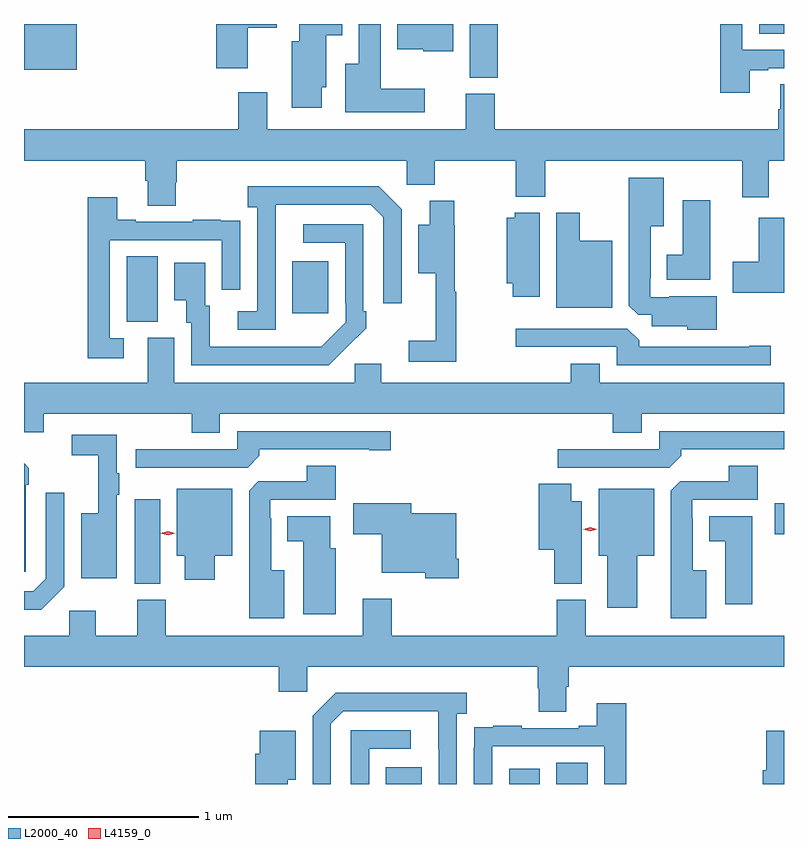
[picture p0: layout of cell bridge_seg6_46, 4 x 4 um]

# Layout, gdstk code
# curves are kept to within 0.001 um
import gdstk
lib = gdstk.Library(unit=1e-6, precision=1e-09)
def R(c, l, rs):  # rectangles x0, y0, x1, y1
    for r in rs: c.add(gdstk.rectangle(r[:2], r[2:], *l))
def P(c, l, *ps):  # polygons
    for p in ps: c.add(gdstk.Polygon(p, *l))
L2000_40 = (2000, 40)
L4159_0 = (4159, 0)

bridge_seg6_46 = lib.new_cell('bridge_seg6_46')
R(bridge_seg6_46, L2000_40, [(1092.203,980.019,1092.391,980.107), (1092.851,980.019,1093.012,980.098), (1093.1,980.019,1093.264,980.132), (1090.88,981.073,1091.014,981.517), (1094.25,981.334,1094.298,981.496), (1090.838,982.453,1091.002,982.796), (1091.711,982.497,1091.899,982.771), (1092.644,983.737,1092.791,984.019), (1090.298,983.777,1090.576,984.019), (1094.168,983.968,1094.298,984.019)])
P(bridge_seg6_46, L2000_40, [(1092.556,984.019),(1092.263,984.019),(1092.263,983.885),(1092.399,983.885),(1092.399,983.876),(1092.556,983.876)],
  [(1091.866,983.685),(1091.89,983.685),(1091.89,983.96),(1091.974,983.96),(1091.974,984.019),(1091.747,984.019),(1091.747,983.929),(1091.708,983.929),(1091.708,983.577),(1091.866,983.577)],
  [(1094.119,983.775),(1094.215,983.775),(1094.215,983.787),(1094.298,983.787),(1094.298,983.883),(1094.079,983.883),(1094.079,984.019),(1093.963,984.019),(1093.963,983.658),(1094.119,983.658)],
  [(1092.406,983.677),(1092.175,983.677),(1092.175,984.019),(1092.059,984.019),(1092.059,983.809),(1091.99,983.809),(1091.99,983.555),(1092.406,983.555)],
  [(1091.476,983.998),(1091.629,983.998),(1091.629,984.019),(1091.309,984.019),(1091.309,983.787),(1091.476,983.787)],
  [(1091.097,983.187),(1091.102,983.187),(1091.102,983.3),(1092.312,983.3),(1092.312,983.174),(1092.459,983.174),(1092.459,983.3),(1092.886,983.3),(1092.886,983.111),(1093.041,983.111),(1093.041,983.3),(1094.078,983.3),(1094.078,983.106),(1094.218,983.106),(1094.218,983.3),(1094.298,983.3),(1094.298,983.702),(1094.279,983.702),(1094.279,983.57),(1094.267,983.57),(1094.267,983.464),(1092.776,983.464),(1092.776,983.652),(1092.623,983.652),(1092.623,983.464),(1091.578,983.464),(1091.578,983.659),(1091.426,983.659),(1091.426,983.464),(1090.298,983.464),(1090.298,983.3),(1090.937,983.3),(1090.937,983.194),(1090.949,983.194),(1090.949,983.062),(1091.097,983.062)],
  [(1093.945,982.585),(1093.693,982.585),(1093.693,982.581),(1093.593,982.581),(1093.593,982.681),(1093.597,982.681),(1093.597,982.955),(1093.666,982.955),(1093.666,983.209),(1093.481,983.209),(1093.481,982.537),(1093.53,982.488),(1093.601,982.488),(1093.601,982.427),(1093.788,982.427),(1093.788,982.409),(1093.945,982.409)],
  [(1091.622,982.867),(1091.623,983.067),(1092.123,983.067),(1092.189,983.001),(1092.189,982.548),(1092.285,982.548),(1092.285,983.043),(1092.164,983.164),(1091.475,983.164),(1091.475,983.054),(1091.526,983.054),(1091.526,982.506),(1091.424,982.506),(1091.424,982.41),(1091.622,982.41)],
  [(1090.822,982.365),(1090.749,982.365),(1090.749,982.881),(1091.34,982.881),(1091.34,982.62),(1091.436,982.62),(1091.436,982.874),(1091.435,982.874),(1091.435,982.983),(1091.333,982.983),(1091.333,982.99),(1091.185,982.99),(1091.185,982.977),(1090.885,982.977),(1090.885,982.99),(1090.789,982.99),(1090.789,983.107),(1090.633,983.107),(1090.633,982.26),(1090.822,982.26)],
  [(1093.909,983.092),(1093.766,983.092),(1093.766,982.804),(1093.682,982.804),(1093.682,982.673),(1093.909,982.673)],
  [(1092.574,982.61),(1092.566,982.61),(1092.566,982.959),(1092.562,982.959),(1092.562,983.089),(1092.434,983.089),(1092.434,982.963),(1092.374,982.963),(1092.374,982.706),(1092.464,982.706),(1092.464,982.351),(1092.324,982.351),(1092.324,982.242),(1092.574,982.242)],
  [(1093.012,983.026),(1092.882,983.026),(1092.882,982.999),(1092.839,982.999),(1092.839,982.655),(1092.871,982.655),(1092.871,982.584),(1093.012,982.584)],
  [(1093.393,982.879),(1093.222,982.879),(1093.222,983.026),(1093.1,983.026),(1093.1,982.526),(1093.393,982.526)],
  [(1094.298,982.999),(1094.165,982.999),(1094.165,982.767),(1094.028,982.767),(1094.028,982.604),(1094.298,982.604)],
  [(1091.993,982.315),(1091.994,982.314),(1092.099,982.419),(1092.099,982.507),(1092.084,982.507),(1092.084,982.965),(1091.769,982.965),(1091.769,982.869),(1091.988,982.869),(1091.988,982.549),(1091.991,982.549),(1091.991,982.449),(1091.863,982.321),(1091.275,982.32),(1091.275,982.536),(1091.251,982.536),(1091.251,982.762),(1091.09,982.762),(1091.09,982.565),(1091.153,982.565),(1091.153,982.446),(1091.178,982.446),(1091.178,982.224),(1091.902,982.224)],
  [(1094.227,982.325),(1094.114,982.325),(1094.114,982.32),(1093.535,982.32),(1093.535,982.354),(1093.473,982.416),(1092.885,982.416),(1092.885,982.32),(1093.419,982.32),(1093.419,982.224),(1094.227,982.224)],
  [(1091.329,981.968),(1093.397,981.968),(1093.397,981.869),(1093.549,981.869),(1093.549,981.968),(1094.298,981.968),(1094.298,982.132),(1093.327,982.132),(1093.327,982.231),(1093.175,982.231),(1093.175,982.132),(1092.178,982.132),(1092.178,982.23),(1092.039,982.23),(1092.039,982.132),(1091.089,982.132),(1091.089,982.368),(1090.949,982.368),(1090.949,982.132),(1090.298,982.132),(1090.298,981.87),(1090.402,981.87),(1090.402,981.968),(1091.182,981.968),(1091.182,981.869),(1091.329,981.869)],
  [(1093.757,981.746),(1093.757,981.78),(1094.298,981.78),(1094.298,981.876),(1093.641,981.876),(1093.641,981.78),(1093.107,981.78),(1093.107,981.684),(1093.695,981.684)],
  [(1091.537,981.746),(1091.537,981.78),(1092.116,981.78),(1092.116,981.775),(1092.229,981.775),(1092.229,981.876),(1091.421,981.876),(1091.421,981.78),(1090.887,981.78),(1090.887,981.684),(1091.475,981.684)],
  [(1090.786,981.541),(1090.798,981.541),(1090.798,981.655),(1090.785,981.655),(1090.785,981.858),(1090.548,981.858),(1090.548,981.75),(1090.688,981.75),(1090.688,981.445),(1090.598,981.445),(1090.598,981.101),(1090.786,981.101)],
  [(1090.308,981.593),(1090.323,981.593),(1090.323,981.681),(1090.298,981.706),(1090.298,981.135),(1090.308,981.135)],
  [(1091.668,981.145),(1091.599,981.145),(1091.599,981.419),(1091.595,981.419),(1091.595,981.516),(1091.939,981.516),(1091.939,981.695),(1091.786,981.695),(1091.786,981.612),(1091.532,981.612),(1091.483,981.563),(1091.483,980.891),(1091.668,980.891)],
  [(1093.888,981.145),(1093.819,981.145),(1093.819,981.419),(1093.815,981.419),(1093.815,981.516),(1094.159,981.516),(1094.159,981.695),(1094.006,981.695),(1094.006,981.612),(1093.752,981.612),(1093.703,981.563),(1093.703,980.891),(1093.888,980.891)],
  [(1093.234,981.508),(1093.177,981.508),(1093.177,981.599),(1093.007,981.599),(1093.007,981.251),(1093.088,981.251),(1093.088,981.073),(1093.234,981.073)],
  [(1093.525,981.221),(1093.615,981.221),(1093.615,981.574),(1093.322,981.574),(1093.322,981.221),(1093.367,981.221),(1093.367,980.946),(1093.525,980.946)],
  [(1091.302,981.221),(1091.395,981.221),(1091.395,981.574),(1091.102,981.574),(1091.102,981.221),(1091.144,981.221),(1091.144,981.093),(1091.302,981.093)],
  [(1090.509,981.057),(1090.509,981.553),(1090.413,981.553),(1090.413,981.099),(1090.347,981.033),(1090.298,981.033),(1090.298,980.936),(1090.388,980.936)],
  [(1092.587,981.205),(1092.574,981.205),(1092.574,981.445),(1092.337,981.445),(1092.337,981.496),(1092.03,981.496),(1092.03,981.334),(1092.182,981.334),(1092.182,981.131),(1092.409,981.131),(1092.409,981.101),(1092.587,981.101)],
  [(1094.131,981.427),(1093.904,981.427),(1093.904,981.296),(1093.988,981.296),(1093.988,980.964),(1094.131,980.964)],
  [(1091.938,981.261),(1091.911,981.261),(1091.911,981.427),(1091.684,981.427),(1091.684,981.296),(1091.768,981.296),(1091.768,980.913),(1091.938,980.913)],
  [(1093.153,980.53),(1093.166,980.53),(1093.166,980.636),(1094.298,980.636),(1094.298,980.8),(1093.255,980.8),(1093.255,980.988),(1093.103,980.988),(1093.103,980.8),(1092.233,980.8),(1092.233,980.995),(1092.08,980.995),(1092.08,980.8),(1091.043,980.8),(1091.043,980.988),(1090.895,980.988),(1090.895,980.8),(1090.675,980.8),(1090.675,980.932),(1090.536,980.932),(1090.536,980.8),(1090.298,980.8),(1090.298,980.636),(1091.639,980.636),(1091.639,980.505),(1091.79,980.505),(1091.79,980.636),(1093.001,980.636),(1093.001,980.523),(1093.006,980.523),(1093.006,980.398),(1093.153,980.398)],
  [(1091.913,980.337),(1091.979,980.403),(1092.479,980.403),(1092.48,980.019),(1092.576,980.019),(1092.576,980.39),(1092.628,980.39),(1092.628,980.5),(1091.938,980.5),(1091.817,980.379),(1091.817,980.019),(1091.913,980.019)],
  [(1092.762,980.217),(1093.353,980.217),(1093.353,980.019),(1093.469,980.019),(1093.469,980.443),(1093.313,980.443),(1093.313,980.326),(1093.217,980.326),(1093.217,980.313),(1092.917,980.313),(1092.917,980.326),(1092.769,980.326),(1092.769,980.319),(1092.667,980.319),(1092.667,980.21),(1092.666,980.21),(1092.666,980.019),(1092.762,980.019)],
  [(1092.114,980.205),(1092.334,980.205),(1092.334,980.301),(1092.018,980.301),(1092.018,980.019),(1092.114,980.019)],
  [(1094.298,980.299),(1094.204,980.299),(1094.204,980.091),(1094.185,980.091),(1094.185,980.019),(1094.298,980.019)],
  [(1091.686,980.042),(1091.728,980.042),(1091.728,980.299),(1091.54,980.299),(1091.54,980.178),(1091.516,980.178),(1091.516,980.019),(1091.686,980.019)])
P(bridge_seg6_46, L4159_0, [(1093.278,981.35),(1093.241,981.36),(1093.241,981.36),(1093.241,981.36),(1093.278,981.37),(1093.314,981.36),(1093.314,981.36),(1093.314,981.36)],
  [(1091.056,981.329),(1091.016,981.339),(1091.016,981.339),(1091.016,981.339),(1091.056,981.349),(1091.095,981.339),(1091.095,981.339),(1091.095,981.339)])

lib.write_gds('bridge_seg6_46.gds')
